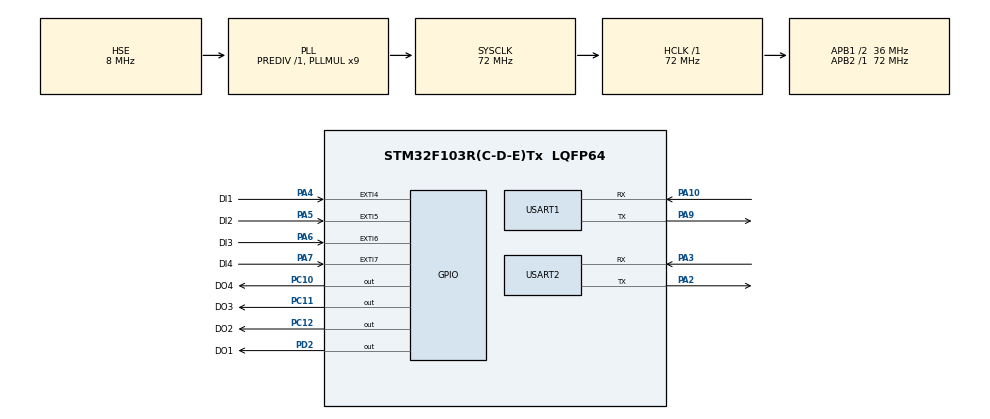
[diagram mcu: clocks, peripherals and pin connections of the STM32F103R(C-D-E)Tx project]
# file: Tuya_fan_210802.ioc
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Mcu.Family=STM32F1
Mcu.Name=STM32F103R(C-D-E)Tx
Mcu.Package=LQFP64
NVIC.EXTI4_IRQn=true\:0\:0\:false\:false\:true\:true\:true
NVIC.EXTI9_5_IRQn=true\:0\:0\:false\:false\:true\:true\:true
NVIC.PriorityGroup=NVIC_PRIORITYGROUP_4
NVIC.TIM6_IRQn=true\:0\:0\:false\:false\:true\:true\:true
NVIC.USART2_IRQn=true\:0\:0\:false\:false\:true\:true\:true
PA10.Mode=Asynchronous
PA10.Signal=USART1_RX
PA13.Mode=Serial_Wire
PA13.Signal=SYS_JTMS-SWDIO
PA14.Mode=Serial_Wire
PA14.Signal=SYS_JTCK-SWCLK
PA2.Mode=Asynchronous
PA2.Signal=USART2_TX
PA3.GPIO_PuPd=GPIO_PULLUP
PA3.Mode=Asynchronous
PA3.Signal=USART2_RX
PA4.GPIO_Label=DI1
PA4.GPIO_ModeDefaultEXTI=GPIO_MODE_IT_RISING_FALLING
PA4.GPIO_PuPd=GPIO_NOPULL
PA4.Signal=GPXTI4
PA5.GPIO_Label=DI2
PA5.GPIO_ModeDefaultEXTI=GPIO_MODE_IT_RISING_FALLING
PA5.Signal=GPXTI5
PA6.GPIO_Label=DI3
PA6.GPIO_ModeDefaultEXTI=GPIO_MODE_IT_RISING_FALLING
PA6.Signal=GPXTI6
PA7.GPIO_Label=DI4
PA7.GPIO_ModeDefaultEXTI=GPIO_MODE_IT_RISING_FALLING
PA7.Signal=GPXTI7
PA9.Mode=Asynchronous
PA9.Signal=USART1_TX
PC10.GPIO_Label=DO4
PC10.GPIO_PuPd=GPIO_PULLDOWN
PC10.Signal=GPIO_Output
PC11.GPIO_Label=DO3
PC11.GPIO_PuPd=GPIO_PULLDOWN
PC11.Signal=GPIO_Output
PC12.GPIO_Label=DO2
PC12.GPIO_PuPd=GPIO_PULLDOWN
PC12.Signal=GPIO_Output
PD0-OSC_IN.Mode=HSE-External-Oscillator
PD0-OSC_IN.Signal=RCC_OSC_IN
PD1-OSC_OUT.Mode=HSE-External-Oscillator
PD1-OSC_OUT.Signal=RCC_OSC_OUT
PD2.GPIO_Label=DO1
PD2.GPIO_PuPd=GPIO_PULLDOWN
PD2.Signal=GPIO_Output
ProjectManager.HeapSize=0x400
ProjectManager.StackSize=0x400
ProjectManager.TargetToolchain=MDK-ARM V5.27
RCC.AHBFreq_Value=72000000
RCC.APB1CLKDivider=RCC_HCLK_DIV2
RCC.APB1Freq_Value=36000000
RCC.APB1TimFreq_Value=72000000
RCC.APB2Freq_Value=72000000
RCC.APB2TimFreq_Value=72000000
RCC.HCLKFreq_Value=72000000
RCC.PLLMUL=RCC_PLL_MUL9
RCC.PLLSourceVirtual=RCC_PLLSOURCE_HSE
RCC.SYSCLKFreq_VALUE=72000000
RCC.SYSCLKSource=RCC_SYSCLKSOURCE_PLLCLK
RCC.USBFreq_Value=72000000
TIM6.Period=999
TIM6.Prescaler=71
USART1.VirtualMode=VM_ASYNC
USART2.VirtualMode=VM_ASYNC
VP_TIM6_VS_ClockSourceINT.Mode=Enable_Timer
board=custom

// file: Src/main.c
/* USER CODE BEGIN Header */
/**
  ******************************************************************************
  * @file           : main.c
  * @brief          : Main program body
  ******************************************************************************
  * @attention
  *
  * <h2><center>&copy; Copyright (c) 2021 STMicroelectronics.
  * All rights reserved.</center></h2>
  *
  * This software component is licensed by ST under BSD 3-Clause license,
  * the "License"; You may not use this file except in compliance with the
  * License. You may obtain a copy of the License at:
  *                        opensource.org/licenses/BSD-3-Clause
  *
  ******************************************************************************
  */
/* USER CODE END Header */

#include "main.h"
#include "tim.h"
#include "usart.h"
#include "gpio.h"

/* USER CODE BEGIN PTD */

teKEYState_TypeDef KEY[4];

uint8_t SWITCH;//开关
uint8_t SPEED;//风速
uint8_t GEAR;//档位

/* USER CODE END PTD */

void SystemClock_Config(void);

int main(void)
{

  /* MCU Configuration--------------------------------------------------------*/

  /* Reset of all peripherals, Initializes the Flash interface and the Systick. */
  HAL_Init();

  /* Configure the system clock */
  SystemClock_Config();

  /* Initialize all configured peripherals */
  MX_GPIO_Init();
  MX_TIM6_Init();
  MX_USART1_UART_Init();
  MX_USART2_UART_Init();
  /* USER CODE BEGIN 2 */

    //串口1 开启接收中断
    __HAL_UART_ENABLE_IT(&huart2,UART_IT_RXNE);

    wifi_protocol_init();

  /* USER CODE END 2 */

  /* Infinite loop */
  /* USER CODE BEGIN WHILE */
  while (1)
  {

    wifi_uart_service();
    HAL_Delay(50);
    if(KEY[DI1] == KEY_UP)
    {
      log_usart1("1 档按钮弹起");
      KEY[DI1] = KEY_UNKNOWN;
      FanClose();
      mcu_dp_bool_update(DPID_SWITCH,0);

    }
    if(KEY[DI2] == KEY_UP)
    {
      log_usart1("2 档按钮弹起");
      KEY[DI2] = KEY_UNKNOWN;
      FanClose();
      mcu_dp_bool_update(DPID_SWITCH,0);
    }
    if(KEY[DI3] == KEY_UP)
    {
      log_usart1("2 档按钮弹起");
      KEY[DI3] = KEY_UNKNOWN;
      FanClose();
      mcu_dp_bool_update(DPID_SWITCH,0);
    }
    if(KEY[DI4] == KEY_UP)
    {
      log_usart1("4 档按钮弹起");
      KEY[DI4] = KEY_UNKNOWN;
      FanClose();
      mcu_dp_bool_update(DPID_SWITCH,0);
    }
    if(KEY[DI1] == KEY_DOWN)
    {
      log_usart1("1 档按钮按下");
      KEY[DI1] = KEY_UNKNOWN;
      FanClose();
      FanGear_1();
      mcu_dp_bool_update(DPID_SWITCH,1);

    }
    if(KEY[DI2] == KEY_DOWN)
    {
      log_usart1("3 档按钮按下");
      KEY[DI2] = KEY_UNKNOWN;
      FanClose();
      FanGear_2();
      mcu_dp_bool_update(DPID_SWITCH,1);
    }
    if(KEY[DI3] == KEY_DOWN)
    {
      log_usart1("3 档按钮按下");
      KEY[DI3] = KEY_UNKNOWN;
      FanClose();
      FanGear_3();
      mcu_dp_bool_update(DPID_SWITCH,1);
    }
    if(KEY[DI4] == KEY_DOWN)
    {
      log_usart1("4 档按钮按下");
      KEY[DI4] = KEY_UNKNOWN;
      FanClose();
      FanGear_4();
      mcu_dp_bool_update(DPID_SWITCH,1);
    }

    /* USER CODE END WHILE */

  }
}

void SystemClock_Config(void)
{
  RCC_OscInitTypeDef RCC_OscInitStruct = {0};
  RCC_ClkInitTypeDef RCC_ClkInitStruct = {0};

  /** Initializes the CPU, AHB and APB busses clocks
  */
  RCC_OscInitStruct.OscillatorType = RCC_OSCILLATORTYPE_HSE;
  RCC_OscInitStruct.HSEState = RCC_HSE_ON;
  RCC_OscInitStruct.HSEPredivValue = RCC_HSE_PREDIV_DIV1;
  RCC_OscInitStruct.HSIState = RCC_HSI_ON;
  RCC_OscInitStruct.PLL.PLLState = RCC_PLL_ON;
  RCC_OscInitStruct.PLL.PLLSource = RCC_PLLSOURCE_HSE;
  RCC_OscInitStruct.PLL.PLLMUL = RCC_PLL_MUL9;
  if (HAL_RCC_OscConfig(&RCC_OscInitStruct) != HAL_OK)
  {
    Error_Handler();
  }
  /** Initializes the CPU, AHB and APB busses clocks
  */
  RCC_ClkInitStruct.ClockType = RCC_CLOCKTYPE_HCLK|RCC_CLOCKTYPE_SYSCLK
                              |RCC_CLOCKTYPE_PCLK1|RCC_CLOCKTYPE_PCLK2;
  RCC_ClkInitStruct.SYSCLKSource = RCC_SYSCLKSOURCE_PLLCLK;
  RCC_ClkInitStruct.AHBCLKDivider = RCC_SYSCLK_DIV1;
  RCC_ClkInitStruct.APB1CLKDivider = RCC_HCLK_DIV2;
  RCC_ClkInitStruct.APB2CLKDivider = RCC_HCLK_DIV1;

  if (HAL_RCC_ClockConfig(&RCC_ClkInitStruct, FLASH_LATENCY_2) != HAL_OK)
  {
    Error_Handler();
  }
}

/* USER CODE BEGIN 4 */

void HAL_GPIO_EXTI_Callback(uint16_t GPIO_Pin)
{
  if(GPIO_Pin == DI1_Pin)
  {
    if(HAL_GPIO_ReadPin(DI1_GPIO_Port,DI1_Pin) == GPIO_PIN_RESET)
    {//下降沿
      KEY[DI1]=KEY_UP;
    }
    if(HAL_GPIO_ReadPin(DI1_GPIO_Port,DI1_Pin) == GPIO_PIN_SET)
    {//下降沿
      KEY[DI1]=KEY_DOWN;
    }
  }
  if(GPIO_Pin == DI2_Pin)
  {
    if(HAL_GPIO_ReadPin(DI2_GPIO_Port,DI2_Pin) == GPIO_PIN_RESET)
    {//下降沿
      KEY[DI2]=KEY_UP;
    }
    if(HAL_GPIO_ReadPin(DI2_GPIO_Port,DI2_Pin) == GPIO_PIN_SET)
    {//下降沿
      KEY[DI2]=KEY_DOWN;
    }
  }
  if(GPIO_Pin == DI3_Pin)
  {
    if(HAL_GPIO_ReadPin(DI3_GPIO_Port,DI3_Pin) == GPIO_PIN_RESET)
    {//下降沿
      KEY[DI3]=KEY_UP;
    }
    if(HAL_GPIO_ReadPin(DI3_GPIO_Port,DI3_Pin) == GPIO_PIN_SET)
    {//下降沿
      KEY[DI3]=KEY_DOWN;
    }
  }
    if(GPIO_Pin == DI4_Pin)
  {
    if(HAL_GPIO_ReadPin(DI4_GPIO_Port,DI4_Pin) == GPIO_PIN_RESET)
    {//下降沿
      KEY[DI4]=KEY_UP;
    }
    if(HAL_GPIO_ReadPin(DI4_GPIO_Port,DI4_Pin) == GPIO_PIN_SET)
    {//下降沿
      KEY[DI4]=KEY_DOWN;
    }
  }
}
/* USER CODE END 4 */

void Error_Handler(void)
{
}

/************************ (C) COPYRIGHT STMicroelectronics *****END OF FILE****/
